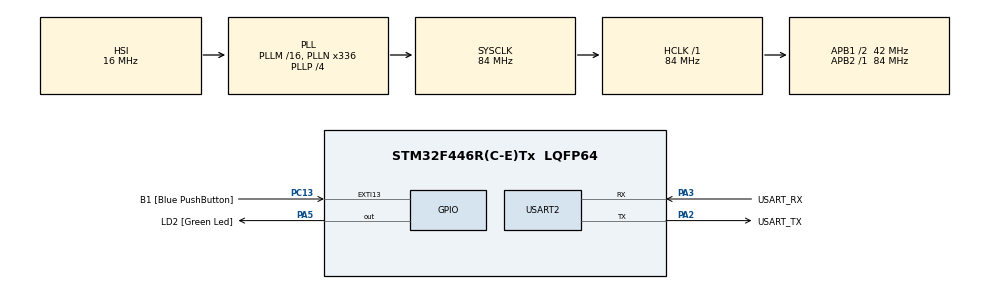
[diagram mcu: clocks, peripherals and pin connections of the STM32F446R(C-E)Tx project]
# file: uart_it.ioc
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Mcu.Family=STM32F4
PC15-OSC32_OUT.Mode=LSE-External-Oscillator
PH0-OSC_IN.Signal=RCC_OSC_IN
RCC.CortexFreq_Value=84000000
PC13.Signal=GPXTI13
PA14.GPIO_Label=TCK
PC13.GPIO_Label=B1 [Blue PushButton]
RCC.APB1CLKDivider=RCC_HCLK_DIV2
PC14-OSC32_IN.Signal=RCC_OSC32_IN
NVIC.USART2_IRQn=true\:0\:0\:false\:false\:true\:true\:true
RCC.SYSCLKSource=RCC_SYSCLKSOURCE_PLLCLK
ProjectManager.StackSize=0x400
PA13.Signal=SYS_JTMS-SWDIO
PA3.Mode=Asynchronous
ProjectManager.TargetToolchain=Makefile
RCC.HCLKFreq_Value=84000000
RCC.APB2TimFreq_Value=84000000
RCC.USBFreq_Value=168000000
PC15-OSC32_OUT.Signal=RCC_OSC32_OUT
RCC.AHBFreq_Value=84000000
PH0-OSC_IN.Mode=HSE-External-Oscillator
PA5.Signal=GPIO_Output
RCC.HSE_VALUE=8000000
board=NUCLEO-F446RE
RCC.VCOOutputFreq_Value=336000000
RCC.APB2Freq_Value=84000000
PC14-OSC32_IN.Mode=LSE-External-Oscillator
PA14.Mode=Serial_Wire
PH1-OSC_OUT.Signal=RCC_OSC_OUT
PA13.Mode=Serial_Wire
Mcu.Name=STM32F446R(C-E)Tx
PA2.Signal=USART2_TX
PA13.GPIO_Label=TMS
RCC.FLatency-AdvancedSettings=FLASH_LATENCY_2
PH1-OSC_OUT.Mode=HSE-External-Oscillator
RCC.48MHZClocksFreq_Value=84000000
PB3.Signal=SYS_JTDO-SWO
RCC.SYSCLKFreq_VALUE=84000000
Mcu.Package=LQFP64
PA5.GPIO_Label=LD2 [Green Led]
PC13.GPIO_ModeDefaultEXTI=GPIO_MODE_IT_FALLING
USART2.VirtualMode=VM_ASYNC
PA2.GPIO_Label=USART_TX
PA14.Signal=SYS_JTCK-SWCLK
ProjectManager.HeapSize=0x200
RCC.HSI_VALUE=16000000
RCC.PLLP=RCC_PLLP_DIV4
NVIC.PriorityGroup=NVIC_PRIORITYGROUP_0
RCC.PLLN=336
RCC.APB1TimFreq_Value=84000000
PA2.Mode=Asynchronous
RCC.APB1Freq_Value=42000000
PA3.GPIO_Label=USART_RX
PA3.Signal=USART2_RX
PB3.GPIO_Label=SWO

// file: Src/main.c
/* USER CODE BEGIN Header */
/**
  ******************************************************************************
  * @file           : main.c
  * @brief          : Main program body
  ******************************************************************************
  * @attention
  *
  * <h2><center>&copy; Copyright (c) 2020 STMicroelectronics.
  * All rights reserved.</center></h2>
  *
  * This software component is licensed by ST under BSD 3-Clause license,
  * the "License"; You may not use this file except in compliance with the
  * License. You may obtain a copy of the License at:
  *                        opensource.org/licenses/BSD-3-Clause
  *
  ******************************************************************************
  */
/* USER CODE END Header */

#include "main.h"

/* USER CODE BEGIN Includes */
#include <stdbool.h>
/* USER CODE END Includes */

UART_HandleTypeDef huart2;

/* USER CODE BEGIN PV */

char buffer[128];
volatile bool new_message = false;

/* USER CODE END PV */

void SystemClock_Config(void);
static void MX_GPIO_Init(void);
static void MX_USART2_UART_Init(void);
/* USER CODE BEGIN PFP */

void HAL_UART_RxCpltCallback(UART_HandleTypeDef *huart);

/* USER CODE END PFP */

int main(void)
{

  /* MCU Configuration--------------------------------------------------------*/

  /* Reset of all peripherals, Initializes the Flash interface and the Systick. */
  HAL_Init();

  /* Configure the system clock */
  SystemClock_Config();

  /* Initialize all configured peripherals */
  MX_GPIO_Init();
  MX_USART2_UART_Init();
  /* USER CODE BEGIN 2 */

  memset(buffer, 0, sizeof(buffer));
  HAL_UART_Receive_IT(&huart2, buffer, sizeof(buffer));

  printf("Waiting message...\r\n");

  /* USER CODE END 2 */

  /* Infinite loop */
  while (1)
  {
    if (new_message)
    {
      new_message = false;
      printf("Rx -> %s\r\n", buffer);
      memset(buffer, 0, sizeof(buffer));
      HAL_UART_Receive_IT(&huart2, buffer, sizeof(buffer));
    }
    HAL_Delay(1e3);
  }
}

void SystemClock_Config(void)
{
  RCC_OscInitTypeDef RCC_OscInitStruct = {0};
  RCC_ClkInitTypeDef RCC_ClkInitStruct = {0};

  /** Configure the main internal regulator output voltage
  */
  __HAL_RCC_PWR_CLK_ENABLE();
  __HAL_PWR_VOLTAGESCALING_CONFIG(PWR_REGULATOR_VOLTAGE_SCALE3);
  /** Initializes the CPU, AHB and APB busses clocks
  */
  RCC_OscInitStruct.OscillatorType = RCC_OSCILLATORTYPE_HSI;
  RCC_OscInitStruct.HSIState = RCC_HSI_ON;
  RCC_OscInitStruct.HSICalibrationValue = RCC_HSICALIBRATION_DEFAULT;
  RCC_OscInitStruct.PLL.PLLState = RCC_PLL_ON;
  RCC_OscInitStruct.PLL.PLLSource = RCC_PLLSOURCE_HSI;
  RCC_OscInitStruct.PLL.PLLM = 16;
  RCC_OscInitStruct.PLL.PLLN = 336;
  RCC_OscInitStruct.PLL.PLLP = RCC_PLLP_DIV4;
  RCC_OscInitStruct.PLL.PLLQ = 2;
  RCC_OscInitStruct.PLL.PLLR = 2;
  if (HAL_RCC_OscConfig(&RCC_OscInitStruct) != HAL_OK)
  {
    Error_Handler();
  }
  /** Initializes the CPU, AHB and APB busses clocks
  */
  RCC_ClkInitStruct.ClockType = RCC_CLOCKTYPE_HCLK|RCC_CLOCKTYPE_SYSCLK
                              |RCC_CLOCKTYPE_PCLK1|RCC_CLOCKTYPE_PCLK2;
  RCC_ClkInitStruct.SYSCLKSource = RCC_SYSCLKSOURCE_PLLCLK;
  RCC_ClkInitStruct.AHBCLKDivider = RCC_SYSCLK_DIV1;
  RCC_ClkInitStruct.APB1CLKDivider = RCC_HCLK_DIV2;
  RCC_ClkInitStruct.APB2CLKDivider = RCC_HCLK_DIV1;

  if (HAL_RCC_ClockConfig(&RCC_ClkInitStruct, FLASH_LATENCY_2) != HAL_OK)
  {
    Error_Handler();
  }
}

static void MX_USART2_UART_Init(void)
{

  huart2.Instance = USART2;
  huart2.Init.BaudRate = 115200;
  huart2.Init.WordLength = UART_WORDLENGTH_8B;
  huart2.Init.StopBits = UART_STOPBITS_1;
  huart2.Init.Parity = UART_PARITY_NONE;
  huart2.Init.Mode = UART_MODE_TX_RX;
  huart2.Init.HwFlowCtl = UART_HWCONTROL_NONE;
  huart2.Init.OverSampling = UART_OVERSAMPLING_16;
  if (HAL_UART_Init(&huart2) != HAL_OK)
  {
    Error_Handler();
  }

}

static void MX_GPIO_Init(void)
{
  GPIO_InitTypeDef GPIO_InitStruct = {0};

  /* GPIO Ports Clock Enable */
  __HAL_RCC_GPIOC_CLK_ENABLE();
  __HAL_RCC_GPIOH_CLK_ENABLE();
  __HAL_RCC_GPIOA_CLK_ENABLE();
  __HAL_RCC_GPIOB_CLK_ENABLE();

  /*Configure GPIO pin Output Level */
  HAL_GPIO_WritePin(LD2_GPIO_Port, LD2_Pin, GPIO_PIN_RESET);

  /*Configure GPIO pin : B1_Pin */
  GPIO_InitStruct.Pin = B1_Pin;
  GPIO_InitStruct.Mode = GPIO_MODE_IT_FALLING;
  GPIO_InitStruct.Pull = GPIO_NOPULL;
  HAL_GPIO_Init(B1_GPIO_Port, &GPIO_InitStruct);

  /*Configure GPIO pin : LD2_Pin */
  GPIO_InitStruct.Pin = LD2_Pin;
  GPIO_InitStruct.Mode = GPIO_MODE_OUTPUT_PP;
  GPIO_InitStruct.Pull = GPIO_NOPULL;
  GPIO_InitStruct.Speed = GPIO_SPEED_FREQ_LOW;
  HAL_GPIO_Init(LD2_GPIO_Port, &GPIO_InitStruct);

}

/* USER CODE BEGIN 4 */

void HAL_UART_RxCpltCallback(UART_HandleTypeDef *huart)
{
  printf("%s -> New message ;)\r\n", __func__);
  new_message = true;
}

int __io_putchar(int ch)
{
	uint8_t c[1];
	c[0] = ch & 0x00FF;
	HAL_UART_Transmit(&huart2, &*c, 1, 10);
	return ch;
}

int _write(int file,char *ptr, int len)
{
	int DataIdx;
	for(DataIdx= 0; DataIdx< len; DataIdx++)
	{
		__io_putchar(*ptr++);
	}
	return len;
}

/* USER CODE END 4 */

void Error_Handler(void)
{
}

/************************ (C) COPYRIGHT STMicroelectronics *****END OF FILE****/
